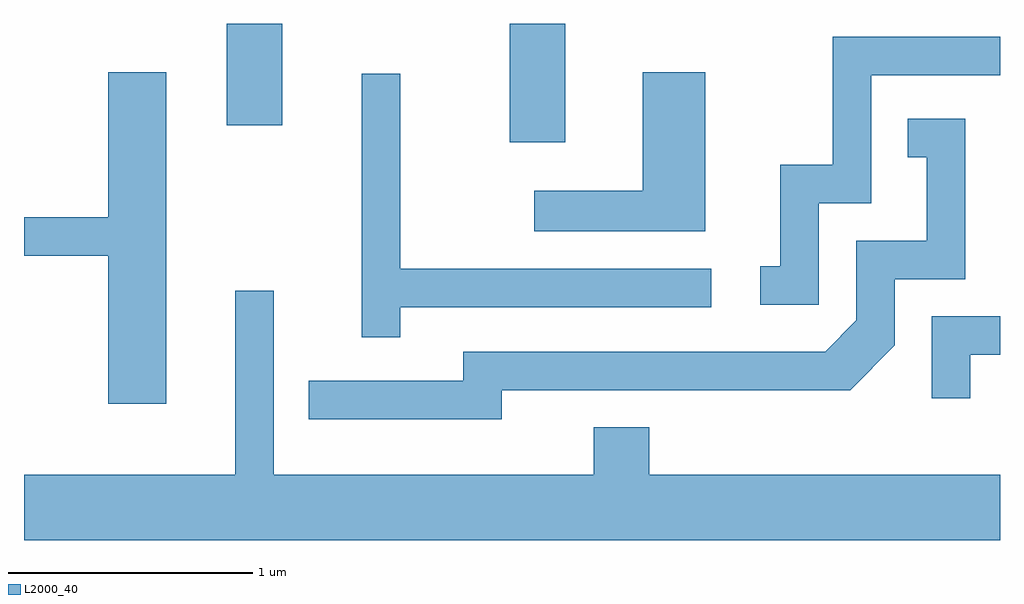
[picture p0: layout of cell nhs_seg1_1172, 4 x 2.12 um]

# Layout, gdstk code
import gdstk
lib = gdstk.Library(unit=1e-6, precision=1e-09)
def R(c, l, rs):  # rectangles x0, y0, x1, y1
    for r in rs: c.add(gdstk.rectangle(r[:2], r[2:], *l))
def P(c, l, *ps):  # polygons
    for p in ps: c.add(gdstk.Polygon(p, *l))
L2000_40 = (2000, 40)

nhs_seg1_1172 = lib.new_cell('nhs_seg1_1172')
R(nhs_seg1_1172, L2000_40, [(223.601,881.226,223.829,881.712), (222.441,881.296,222.669,881.712)])
P(nhs_seg1_1172, L2000_40, [(224.869,880.976),(225.084,880.976),(225.084,881.501),(225.611,881.501),(225.611,881.659),(224.926,881.659),(224.926,881.134),(224.711,881.134),(224.711,880.719),(224.628,880.719),(224.628,880.561),(224.869,880.561)],
  [(224.404,881.514),(224.146,881.514),(224.146,881.029),(223.703,881.029),(223.703,880.861),(224.404,880.861)],
  [(222.194,881.514),(221.956,881.514),(221.956,880.919),(221.611,880.919),(221.611,880.761),(221.956,880.761),(221.956,880.156),(222.194,880.156)],
  [(223.154,880.551),(224.428,880.551),(224.428,880.709),(223.154,880.709),(223.154,881.508),(222.996,881.508),(222.996,880.428),(223.154,880.428)],
  [(223.569,880.211),(224.997,880.211),(225.179,880.394),(225.179,880.666),(225.469,880.666),(225.469,881.324),(225.233,881.324),(225.233,881.166),(225.311,881.166),(225.311,880.824),(225.021,880.824),(225.021,880.497),(224.894,880.369),(223.411,880.369),(223.411,880.249),(222.778,880.249),(222.778,880.091),(223.569,880.091)],
  [(225.611,879.864),(224.174,879.864),(224.174,880.059),(223.946,880.059),(223.946,879.864),(222.634,879.864),(222.634,880.618),(222.476,880.618),(222.476,879.864),(221.611,879.864),(221.611,879.596),(225.611,879.596)],
  [(225.489,880.356),(225.611,880.356),(225.611,880.514),(225.331,880.514),(225.331,880.178),(225.489,880.178)])

lib.write_gds('nhs_seg1_1172.gds')
